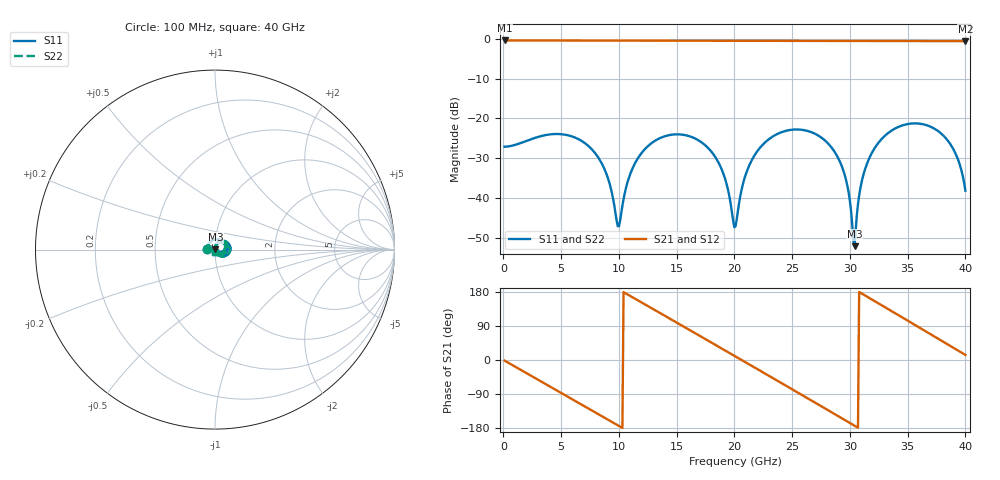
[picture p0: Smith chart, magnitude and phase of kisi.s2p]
! thru_BV_vna_rf_hblb1_in: 2×thru F.Cu, 8 mm
! stackup: as the board case
! ports: 1 near, 2 far
! kisi-fdtd, conformal, dfine 0.035 mm, 559872 cells
# Hz S RI R 50
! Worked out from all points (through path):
!   400 points, 100 MHz to 40 GHz, reference 50 ohm
!   highest |S21| = -0.43 dB at 100 MHz (marker M1); lowest = -0.6 dB at 40 GHz (marker M2)
!   group delay of S21, straight-line fit = 49 ps
!   lowest |S11| = -52.1 dB at 30.4 GHz (marker M3), VSWR 1.00, Z = 50.2 + j0.126 ohm
!   |S11| at or under -10 dB: start of sweep to end of sweep
!   |S22| runs from -52.1 to -21.3 dB; largest |S21 - S12| = 0
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1e8  -0.0439 0.00284  0.9508 -0.0289  0.9508 -0.0289  -0.0439 0.00284
3.7e9  0.025 0.0565  0.4108 -0.8567  0.4108 -0.8567  0.025 0.0565
6.8e9  0.0517 -0.000418  -0.4495 -0.8352  -0.4495 -0.8352  0.0517 -0.000418
8.8e9  0.0184 -0.0122  -0.8448 -0.4291  -0.8448 -0.4291  0.0184 -0.0122
1e10  0.00362 0.00252  -0.9419 -0.0996  -0.9419 -0.0996  0.00362 0.00252
1.12e10  0.00432 0.0235  -0.9152 0.243  -0.9152 0.243  0.00432 0.0235
1.34e10  0.0385 0.0393  -0.5663 0.7585  -0.5663 0.7585  0.0385 0.0393
1.56e10  0.0614 0.0086  0.0287 0.9459  0.0287 0.9459  0.0614 0.0086
1.79e10  0.0346 -0.0197  0.6337 0.702  0.6337 0.702  0.0346 -0.0197
2.01e10  0.00369 0.00244  0.9327 0.1518  0.9327 0.1518  0.00369 0.00244
2.09e10  0.0035 0.0178  0.9412 -0.0798  0.9412 -0.0798  0.0035 0.0178
2.22e10  0.0185 0.0382  0.8352 -0.4398  0.8352 -0.4398  0.0185 0.0382
2.67e10  0.0656 -0.0118  -0.2821 -0.8987  -0.2821 -0.8987  0.0656 -0.0118
2.93e10  0.0154 -0.0197  -0.8437 -0.4168  -0.8437 -0.4168  0.0154 -0.0197
2.99e10  0.00638 -0.0095  -0.9063 -0.2527  -0.9063 -0.2527  0.00638 -0.0095
3.04e10  0.00214 0.00126  -0.9344 -0.1088  -0.9344 -0.1088  0.00214 0.00126
3.08e10  0.00126 0.0106  -0.9405 0.00848  -0.9405 0.00848  0.00126 0.0106
3.13e10  0.00351 0.0224  -0.9276 0.1547  -0.9276 0.1547  0.00351 0.0224
3.34e10  0.0454 0.0491  -0.6385 0.689  -0.6385 0.689  0.0454 0.0491
3.56e10  0.0857 0.0113  -0.0516 0.9362  -0.0516 0.9362  0.0857 0.0113
3.77e10  0.0579 -0.0358  0.5344 0.7677  0.5344 0.7677  0.0579 -0.0358
4e10  0.00258 -0.0121  0.9076 0.2167  0.9076 0.2167  0.00258 -0.0121
